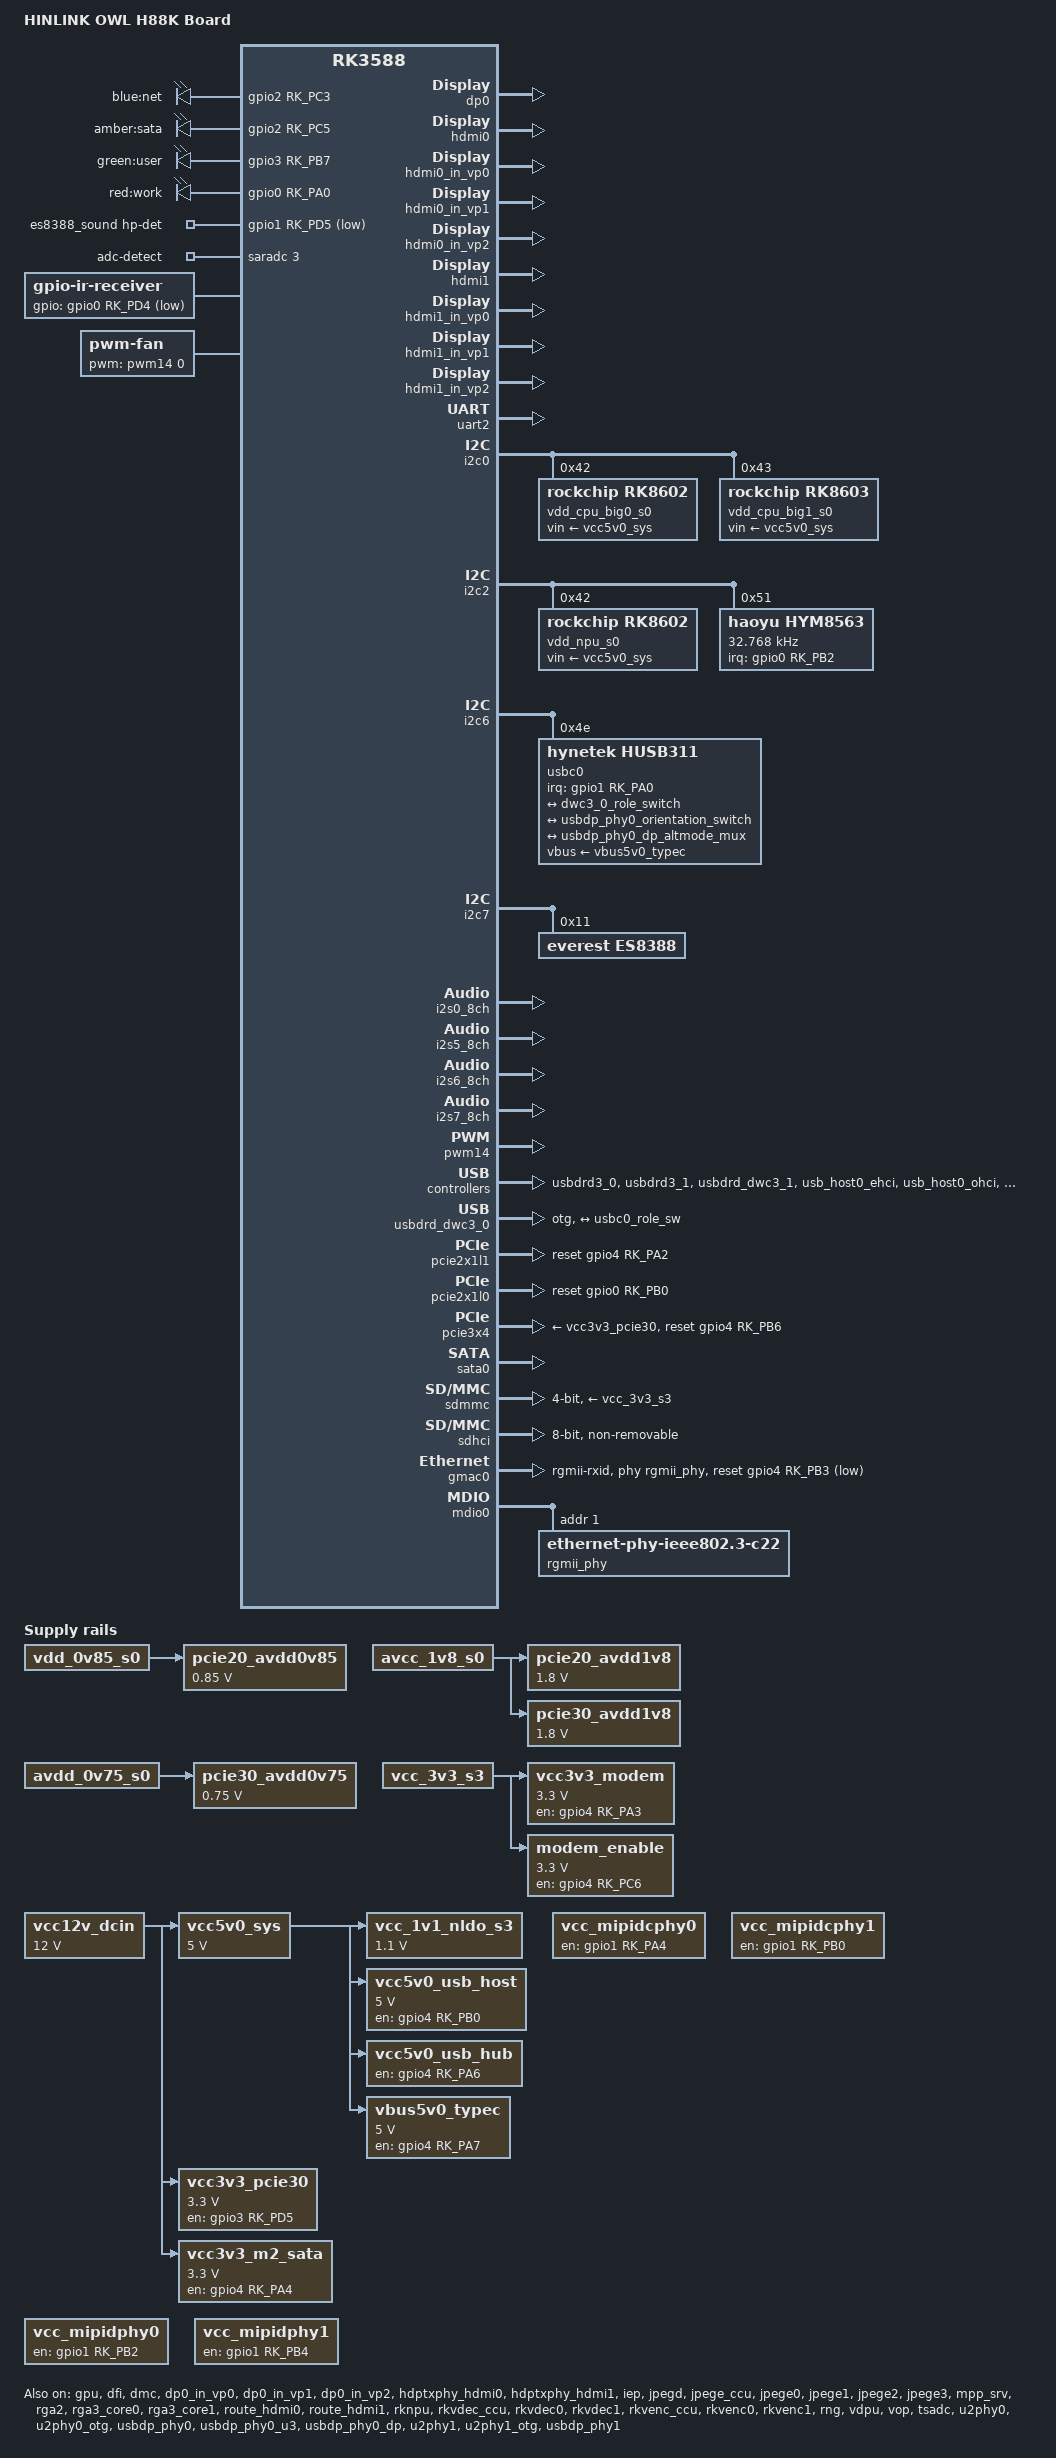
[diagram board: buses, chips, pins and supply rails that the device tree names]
// SPDX-License-Identifier: (GPL-2.0+ OR MIT)
// Copyright (c) 2022 Flippy <flippy@sina.com>

/dts-v1/;

#include <dt-bindings/gpio/gpio.h>
#include <dt-bindings/leds/common.h>
#include <dt-bindings/pwm/pwm.h>
#include <dt-bindings/pinctrl/rockchip.h>
#include <dt-bindings/input/rk-input.h>
#include <dt-bindings/display/drm_mipi_dsi.h>
#include <dt-bindings/display/rockchip_vop.h>
#include <dt-bindings/sensor-dev.h>
#include "dt-bindings/usb/pd.h"
#include "rk3588.dtsi"
#include "rk3588-rk806-single.dtsi"

/ {
	model = "HINLINK OWL H88K Board";
	compatible = "hinlink,owl-h88k", "rockchip,rk3588";

	aliases {
		mmc0 = &sdmmc;
		mmc1 = &sdhci;
	};

	/* If hdmirx node is disabled, delete the reserved-memory node here. */
	reserved-memory {
		#address-cells = <2>;
		#size-cells = <2>;
		ranges;

		/* Reserve 256MB memory for hdmirx-controller@fdee0000 */
		cma {
			compatible = "shared-dma-pool";
			reusable;
			reg = <0x0 (256 * 0x100000) 0x0 (256 * 0x100000)>;
			linux,cma-default;
		};
	};

	chosen {
		stdout-path = "serial2:1500000n8";
	};

	leds {
		compatible = "gpio-leds";
		pinctrl-names = "default";
		pinctrl-0 = <&led_net_en>, <&led_sata_en>,
			    <&led_user_en>, <&led_work_en>;

		net {
			label = "blue:net";
			gpios = <&gpio2 RK_PC3 GPIO_ACTIVE_HIGH>;
		};

		sata {
			label = "amber:sata";
			gpios = <&gpio2 RK_PC5 GPIO_ACTIVE_HIGH>;
		};

		user {
			label = "green:user";
			gpios = <&gpio3 RK_PB7 GPIO_ACTIVE_HIGH>;
		};

		work {
			label = "red:work";
			gpios = <&gpio0 RK_PA0 GPIO_ACTIVE_HIGH>;
			linux,default-trigger = "default-on";
		};
	};

	vcc12v_dcin: vcc12v-dcin {
		compatible = "regulator-fixed";
		regulator-name = "vcc12v_dcin";
		regulator-always-on;
		regulator-boot-on;
		regulator-min-microvolt = <12000000>;
		regulator-max-microvolt = <12000000>;
	};

	vcc5v0_sys: vcc5v0-sys {
		compatible = "regulator-fixed";
		regulator-name = "vcc5v0_sys";
		regulator-always-on;
		regulator-boot-on;
		regulator-min-microvolt = <5000000>;
		regulator-max-microvolt = <5000000>;
		vin-supply = <&vcc12v_dcin>;
	};

	pcie20_avdd0v85: pcie20-avdd0v85 {
		compatible = "regulator-fixed";
		regulator-name = "pcie20_avdd0v85";
		regulator-boot-on;
		regulator-always-on;
		regulator-min-microvolt = <850000>;
		regulator-max-microvolt = <850000>;
		vin-supply = <&vdd_0v85_s0>;
	};

	pcie20_avdd1v8: pcie20-avdd1v8 {
		compatible = "regulator-fixed";
		regulator-name = "pcie20_avdd1v8";
		regulator-boot-on;
		regulator-always-on;
		regulator-min-microvolt = <1800000>;
		regulator-max-microvolt = <1800000>;
		vin-supply = <&avcc_1v8_s0>;
	};

	pcie30_avdd0v75: pcie30-avdd0v75 {
		compatible = "regulator-fixed";
		regulator-name = "pcie30_avdd0v75";
		regulator-boot-on;
		regulator-always-on;
		regulator-min-microvolt = <750000>;
		regulator-max-microvolt = <750000>;
		vin-supply = <&avdd_0v75_s0>;
	};

	pcie30_avdd1v8: pcie30-avdd1v8 {
		compatible = "regulator-fixed";
		regulator-name = "pcie30_avdd1v8";
		regulator-boot-on;
		regulator-always-on;
		regulator-min-microvolt = <1800000>;
		regulator-max-microvolt = <1800000>;
		vin-supply = <&avcc_1v8_s0>;
	};

	vcc_1v1_nldo_s3: vcc-1v1-nldo-s3 {
		compatible = "regulator-fixed";
		regulator-name = "vcc_1v1_nldo_s3";
		regulator-always-on;
		regulator-boot-on;
		regulator-min-microvolt = <1100000>;
		regulator-max-microvolt = <1100000>;
		vin-supply = <&vcc5v0_sys>;
	};

	vcc3v3_pcie30: vcc3v3-pcie30 {
		compatible = "regulator-fixed";
		regulator-name = "vcc3v3_pcie30";
		regulator-min-microvolt = <3300000>;
		regulator-max-microvolt = <3300000>;
		enable-active-high;
		gpios = <&gpio3 RK_PD5 GPIO_ACTIVE_HIGH>;
		startup-delay-us = <5000>;
		vin-supply = <&vcc12v_dcin>;
	};

	vcc5v0_usb_host: vcc5v0-usb-host {
		compatible = "regulator-fixed";
		regulator-name = "vcc5v0_usb_host";
		regulator-min-microvolt = <5000000>;
		regulator-max-microvolt = <5000000>;
		enable-active-high;
		gpio = <&gpio4 RK_PB0 GPIO_ACTIVE_HIGH>;
		pinctrl-names = "default";
		pinctrl-0 = <&vcc5v0_usb_host_en>;
		vin-supply = <&vcc5v0_sys>;
	};

	/* usb hub reset pin */
	vcc5v0_usb_hub: vcc5v0-usb-hub {
		compatible = "regulator-fixed";
		regulator-name = "vcc5v0_usb_hub";
		regulator-always-on;
		enable-active-high;
		gpio = <&gpio4 RK_PA6 GPIO_ACTIVE_HIGH>;
		pinctrl-names = "default";
		pinctrl-0 = <&vcc5v0_usb_hub_en>;
		startup-delay-us = <50000>;
		vin-supply = <&vcc5v0_sys>;
	};

	vbus5v0_typec: vbus5v0-typec {
		compatible = "regulator-fixed";
		regulator-name = "vbus5v0_typec";
		regulator-min-microvolt = <5000000>;
		regulator-max-microvolt = <5000000>;
		regulator-boot-on;
		enable-active-high;
		gpio = <&gpio4 RK_PA7 GPIO_ACTIVE_HIGH>;
		pinctrl-names = "default";
		pinctrl-0 = <&typec5v_pwren>;
		vin-supply = <&vcc5v0_sys>;
	};

	vcc_mipidcphy0: vcc-mipidcphy0 {
		compatible = "regulator-fixed";
		regulator-name = "vcc_mipidcphy0";
		enable-active-high;
		gpio = <&gpio1 RK_PA4 GPIO_ACTIVE_HIGH>;
		pinctrl-names = "default";
		pinctrl-0 = <&mipidcphy0_pwr>;
	};

	vcc_mipidcphy1: vcc-mipidcphy1 {
		compatible = "regulator-fixed";
		regulator-name = "vcc_mipidcphy1";
		enable-active-high;
		gpio = <&gpio1 RK_PB0 GPIO_ACTIVE_HIGH>;
		pinctrl-names = "default";
		pinctrl-0 = <&mipidcphy1_pwr>;
	};

	vcc_mipidphy0: vcc-mipidphy0 {
		compatible = "regulator-fixed";
		regulator-name = "vcc_mipidphy0";
		enable-active-high;
		gpio = <&gpio1 RK_PB2 GPIO_ACTIVE_HIGH>;
		pinctrl-names = "default";
		pinctrl-0 = <&mipidphy0_pwr>;
	};

	vcc_mipidphy1: vcc-mipidphy1 {
		compatible = "regulator-fixed";
		regulator-name = "vcc_mipidphy1";
		enable-active-high;
		gpio = <&gpio1 RK_PB4 GPIO_ACTIVE_HIGH>;
		pinctrl-names = "default";
		pinctrl-0 = <&mipidphy1_pwr>;
	};

	vcc3v3_m2_sata: vcc3v3-m2-sata {
		compatible = "regulator-fixed";
		regulator-name = "vcc3v3_m2_sata";
		regulator-min-microvolt = <3300000>;
		regulator-max-microvolt = <3300000>;
		regulator-always-on;
		regulator-boot-on;
		enable-active-high;
		gpios = <&gpio4 RK_PA4 GPIO_ACTIVE_HIGH>;
		vin-supply = <&vcc12v_dcin>;
	};

	/* can't work */
	/*
	rk_modem: rk-Modem {
		compatible="4g-modem-platdata";
		pinctrl-names = "modem-power", "modem-reset";
		pinctrl-0 = <&modem_power_en>, <&modem_reset_en>;
		4G,power-gpio = <&gpio4 RK_PA3 GPIO_ACTIVE_HIGH>;
		4G,reset-gpio = <&gpio4 RK_PC6 GPIO_ACTIVE_HIGH>;
		status = "okay";
	};
	*/

	vcc3v3_modem: vcc3v3-modem {
		compatible = "regulator-fixed";
		enable-active-high;
		regulator-always-on;
		regulator-boot-on;
		gpios = <&gpio4 RK_PA3 GPIO_ACTIVE_HIGH>;
		regulator-min-microvolt = <3300000>;
		regulator-max-microvolt = <3300000>;
		regulator-name = "vcc3v3_modem";
		pinctrl-names = "default";
		pintctrl-0 = <&modem_power_en>;
		vin-supply = <&vcc_3v3_s3>;
	};

	/* it's modem reset pin */
	modem_enable: modem-enable {
		compatible = "regulator-fixed";
		enable-active-high;
		regulator-always-on;
		regulator-boot-on;
		gpios = <&gpio4 RK_PC6 GPIO_ACTIVE_HIGH>;
		regulator-min-microvolt = <3300000>;
		regulator-max-microvolt = <3300000>;
		regulator-name = "modem-enable";
		vin-supply = <&vcc_3v3_s3>;
		startup-delay-us = <500000>;
		pinctrl-names = "default";
		pintctrl-0 = <&modem_reset_en>;
	};

	es8388_sound: es8388-sound {
		status = "okay";
		compatible = "rockchip,multicodecs-card";
		rockchip,card-name = "rockchip-es8388";
		hp-det-gpio = <&gpio1 RK_PD5 GPIO_ACTIVE_LOW>;
		io-channels = <&saradc 3>;
		io-channel-names = "adc-detect";
		keyup-threshold-microvolt = <1800000>;
		poll-interval = <100>;
		rockchip,format = "i2s";
		rockchip,mclk-fs = <256>;
		rockchip,cpu = <&i2s0_8ch>;
		rockchip,codec = <&es8388>;
		rockchip,audio-routing =
			"Headphone", "LOUT1",
			"Headphone", "ROUT1",
			"Speaker", "LOUT2",
			"Speaker", "ROUT2",
			"Headphone", "Headphone Power",
			"Headphone", "Headphone Power",
			"Speaker", "Speaker Power",
			"Speaker", "Speaker Power",
			"LINPUT1", "Main Mic",
			"LINPUT2", "Main Mic",
			"RINPUT1", "Headset Mic",
			"RINPUT2", "Headset Mic";
		pinctrl-names = "default";
		pinctrl-0 = <&hp_det>;

		play-pause-key {
			label = "playpause";
			linux,code = <KEY_PLAYPAUSE>;
			press-threshold-microvolt = <2000>;
		};
	};

	hdmi0_sound: hdmi0-sound {
		status = "okay";
		compatible = "rockchip,hdmi";
		rockchip,mclk-fs = <128>;
		rockchip,card-name = "rockchip-hdmi0";
		rockchip,cpu = <&i2s5_8ch>;
		rockchip,codec = <&hdmi0>;
		rockchip,jack-det;
	};

	hdmi1_sound: hdmi1-sound {
		status = "okay";
		compatible = "rockchip,hdmi";
		rockchip,mclk-fs = <128>;
		rockchip,card-name = "rockchip-hdmi1";
		rockchip,cpu = <&i2s6_8ch>;
		rockchip,codec = <&hdmi1>;
		rockchip,jack-det;
	};

	dp0_sound: dp0-sound {
		status = "okay";
		compatible = "rockchip,hdmi";
		rockchip,card-name= "rockchip,dp0";
		rockchip,mclk-fs = <512>;
		rockchip,cpu = <&spdif_tx2>;
		rockchip,codec = <&dp0 1>;
		rockchip,jack-det;
	};

	hdmiin_dc: hdmiin-dc {
		compatible = "rockchip,dummy-codec";
		#sound-dai-cells = <0>;
	};

	hdmiin-sound {
		compatible = "simple-audio-card";
		simple-audio-card,format = "i2s";
		simple-audio-card,name = "rockchip,hdmiin";
		simple-audio-card,bitclock-master = <&dailink0_master>;
		simple-audio-card,frame-master = <&dailink0_master>;
		status = "okay";
		simple-audio-card,cpu {
			sound-dai = <&i2s7_8ch>;
		};
		dailink0_master: simple-audio-card,codec {
			sound-dai = <&hdmiin_dc>;
		};
	};

	ir-receiver {
		compatible = "gpio-ir-receiver";
		gpios = <&gpio0 RK_PD4 GPIO_ACTIVE_LOW>;
		pinctrl-0 = <&ir_int_pin>;
		pinctrl-names = "default";
	};

	pwm-fan {
		compatible = "pwm-fan";
		#cooling-cells = <2>;
		pwms = <&pwm14 0 50000 0>;
	};
};

&cpu_l0 {
	cpu-supply = <&vdd_cpu_lit_s0>;
	mem-supply = <&vdd_cpu_lit_mem_s0>;
};

&cpu_b0 {
	cpu-supply = <&vdd_cpu_big0_s0>;
	mem-supply = <&vdd_cpu_big0_mem_s0>;
};

&cpu_b2 {
	cpu-supply = <&vdd_cpu_big1_s0>;
	mem-supply = <&vdd_cpu_big1_mem_s0>;
};

&display_subsystem {
	clocks = <&hdptxphy_hdmi_clk0>, <&hdptxphy_hdmi_clk1>;
	clock-names = "hdmi0_phy_pll", "hdmi1_phy_pll";
};

&hdptxphy_hdmi_clk0 {
	status = "okay";
};

&hdptxphy_hdmi_clk1 {
	status = "okay";
};

&gpu {
	mali-supply = <&vdd_gpu_s0>;
	mem-supply = <&vdd_gpu_mem_s0>;
	status = "okay";
};

&crypto {
	status = "disabled";
};

&dfi {
	status = "okay";
};

&dmc {
	center-supply = <&vdd_ddr_s0>;
	mem-supply = <&vdd_log_s0>;
	status = "okay";
};

&dp0 {
	status = "okay";
};

&dp0_in_vp0 {
	status = "okay";
};

&dp0_in_vp1 {
	status = "okay";
};

&dp0_in_vp2 {
	status = "okay";
};

&hdmi0 {
	enable-gpios = <&gpio4 RK_PB1 GPIO_ACTIVE_HIGH>;
	status = "okay";
};

&hdmi0_in_vp0 {
	status = "okay";
};

&hdmi0_in_vp1 {
	status = "okay";
};

&hdmi0_in_vp2 {
	status = "okay";
};

&hdmi1 {
	enable-gpios = <&gpio4 RK_PB2 GPIO_ACTIVE_HIGH>;
	status = "okay";
};

&hdmi1_in_vp0 {
	status = "okay";
};

&hdmi1_in_vp1 {
	status = "okay";
};

&hdmi1_in_vp2 {
	status = "okay";
};

&hdptxphy_hdmi0 {
	status = "okay";
};

&hdptxphy_hdmi1 {
	status = "okay";
};

&uart2 {
	pinctrl-0 = <&uart2m0_xfer>;
	status = "okay";
};

&i2c0 {
	pinctrl-names = "default";
	pinctrl-0 = <&i2c0m2_xfer>;
	status = "okay";

	vdd_cpu_big0_s0: vdd_cpu_big0_mem_s0: rk8602@42 {
		compatible = "rockchip,rk8602";
		reg = <0x42>;
		regulator-always-on;
		regulator-boot-on;
		regulator-compatible = "rk860x-reg";
		regulator-min-microvolt = <550000>;
		regulator-max-microvolt = <1050000>;
		regulator-name = "vdd_cpu_big0_s0";
		regulator-ramp-delay = <2300>;
		rockchip,suspend-voltage-selector = <1>;
		vin-supply = <&vcc5v0_sys>;

		regulator-state-mem {
			regulator-off-in-suspend;
		};
	};

	vdd_cpu_big1_s0: vdd_cpu_big1_mem_s0: rk8603@43 {
		compatible = "rockchip,rk8603";
		reg = <0x43>;
		regulator-always-on;
		regulator-boot-on;
		regulator-compatible = "rk860x-reg";
		regulator-min-microvolt = <550000>;
		regulator-max-microvolt = <1050000>;
		regulator-name = "vdd_cpu_big1_s0";
		regulator-ramp-delay = <2300>;
		rockchip,suspend-voltage-selector = <1>;
		vin-supply = <&vcc5v0_sys>;

		regulator-state-mem {
			regulator-off-in-suspend;
		};
	};
};

&i2c2 {
	status = "okay";

	vdd_npu_s0: vdd_npu_mem_s0: rk8602@42 {
		compatible = "rockchip,rk8602";
		reg = <0x42>;
		regulator-always-on;
		regulator-boot-on;
		regulator-compatible = "rk860x-reg";
		regulator-min-microvolt = <550000>;
		regulator-max-microvolt = <950000>;
		regulator-name = "vdd_npu_s0";
		regulator-ramp-delay = <2300>;
		rockchip,suspend-voltage-selector = <1>;
		vin-supply = <&vcc5v0_sys>;

		regulator-state-mem {
			regulator-off-in-suspend;
		};
	};

	hym8563: hym8563@51 {
		compatible = "haoyu,hym8563";
		reg = <0x51>;
		#clock-cells = <0>;
		clock-frequency = <32768>;
		clock-output-names = "hym8563";
		interrupt-parent = <&gpio0>;
		interrupts = <RK_PB2 IRQ_TYPE_LEVEL_LOW>;
		pinctrl-names = "default";
		pinctrl-0 = <&rtc_int>;
		wakeup-source;
	};
};

&i2c6 {
	status = "okay";

	usbc0: husb311@4e {
		status = "okay";
		compatible = "hynetek,husb311";
		reg = <0x4e>;
		interrupt-parent = <&gpio1>;
		interrupts = <RK_PA0 IRQ_TYPE_LEVEL_LOW>;
		pinctrl-names = "default";
		pinctrl-0 = <&usbc0_int>;
		vbus-supply = <&vbus5v0_typec>;

		ports {
			#address-cells = <1>;
			#size-cells = <0>;

			port@0 {
				reg = <0>;
				usbc0_role_sw: endpoint@0 {
					remote-endpoint = <&dwc3_0_role_switch>;
				};
			};
		};

		usb_con: connector {
			compatible = "usb-c-connector";
			label = "USB-C";
			data-role = "dual";
			power-role = "dual";
			try-power-role = "sink";
			op-sink-microwatt = <1000000>;
			sink-pdos =
				<PDO_FIXED(5000, 1000, PDO_FIXED_USB_COMM)>;
			source-pdos =
				<PDO_FIXED(5000, 3000, PDO_FIXED_USB_COMM)>;

			altmodes {
				#address-cells = <1>;
				#size-cells = <0>;

				altmode@0 {
					reg = <0>;
					svid = <0xff01>;
					vdo = <0xffffffff>;
				};
			};

			ports {
				#address-cells = <1>;
				#size-cells = <0>;

				port@0 {
					reg = <0>;
					usbc0_orien_sw: endpoint {
						remote-endpoint = <&usbdp_phy0_orientation_switch>;
					};
				};

				port@1 {
					reg = <1>;
					dp_altmode_mux: endpoint {
						remote-endpoint = <&usbdp_phy0_dp_altmode_mux>;
					};
				};
			};
		};
	};
};

&i2c7 {
	status = "okay";

	es8388: es8388@11 {
		status = "okay";
		#sound-dai-cells = <0>;
		compatible = "everest,es8388", "everest,es8323";
		reg = <0x11>;
		clocks = <&cru I2S0_8CH_MCLKOUT>;
		clock-names = "mclk";
		assigned-clocks = <&cru I2S0_8CH_MCLKOUT>;
		assigned-clock-rates = <12288000>;
		pinctrl-names = "default";
		pinctrl-0 = <&i2s0_mclk>;
	};
};

&i2s0_8ch {
	pinctrl-0 = <&i2s0_lrck
		     &i2s0_sclk
		     &i2s0_sdi0
		     &i2s0_sdo0>;
	status = "okay";
};

&i2s5_8ch {
	status = "okay";
};

&i2s6_8ch {
	status = "okay";
};

&i2s7_8ch {
	status = "okay";
};

&iep {
	status = "okay";
};

&iep_mmu {
	status = "okay";
};

&jpegd {
	status = "okay";
};

&jpegd_mmu {
	status = "okay";
};

&jpege_ccu {
	status = "okay";
};

&jpege0 {
	status = "okay";
};

&jpege0_mmu {
	status = "okay";
};

&jpege1 {
	status = "okay";
};

&jpege1_mmu {
	status = "okay";
};

&jpege2 {
	status = "okay";
};

&jpege2_mmu {
	status = "okay";
};

&jpege3 {
	status = "okay";
};

&jpege3_mmu {
	status = "okay";
};

&mpp_srv {
	status = "okay";
};

&pwm14 {
	status = "okay";
};

&rga2 {
	status = "okay";
};

&rga3_core0 {
	status = "okay";
};

&rga3_0_mmu {
	status = "okay";
};

&rga3_core1 {
	status = "okay";
};

&rga3_1_mmu {
	status = "okay";
};

&route_dp0 {
	status = "disabled";
	force-output;
	connect = <&vp2_out_dp0>;

	force_timing {
		clock-frequency = <65000000>;
		hactive = <1024>;
		vactive = <768>;
		hfront-porch = <24>;
		hsync-len = <136>;
		hback-porch = <160>;
		vfront-porch = <3>;
		vsync-len = <6>;
		vback-porch = <29>;
		hsync-active = <0>;
		vsync-active = <0>;
		de-active = <0>;
		pixelclk-active = <0>;
	};
};

&route_hdmi0 {
	status = "okay";
	force-output;
	connect = <&vp2_out_hdmi0>;

	force_timing {
		clock-frequency = <65000000>;
		hactive = <1024>;
		vactive = <768>;
		hfront-porch = <24>;
		hsync-len = <136>;
		hback-porch = <160>;
		vfront-porch = <3>;
		vsync-len = <6>;
		vback-porch = <29>;
		hsync-active = <0>;
		vsync-active = <0>;
		de-active = <0>;
		pixelclk-active = <0>;
	};
};

&route_hdmi1 {
	status = "okay";
	force-output;
	connect = <&vp2_out_hdmi1>;

	force_timing {
		clock-frequency = <65000000>;
		hactive = <1024>;
		vactive = <768>;
		hfront-porch = <24>;
		hsync-len = <136>;
		hback-porch = <160>;
		vfront-porch = <3>;
		vsync-len = <6>;
		vback-porch = <29>;
		hsync-active = <0>;
		vsync-active = <0>;
		de-active = <0>;
		pixelclk-active = <0>;
	};
};

&rknpu {
	rknpu-supply = <&vdd_npu_s0>;
	mem-supply = <&vdd_npu_mem_s0>;
	status = "okay";
};

&rknpu_mmu {
	status = "okay";
};

&rkvdec_ccu {
	status = "okay";
};

&rkvdec0 {
	status = "okay";
};

&rkvdec0_mmu {
	status = "okay";
};

&rkvdec1 {
	status = "okay";
};

&rkvdec1_mmu {
	status = "okay";
};

&rkvenc_ccu {
	status = "okay";
};

&rkvenc0 {
	status = "okay";
};

&rkvenc0_mmu {
	status = "okay";
};

&rkvenc1 {
	status = "okay";
};

&rkvenc1_mmu {
	status = "okay";
};

&rng {
	status = "okay";
};

&vdpu {
	status = "okay";
};

&vdpu_mmu {
	status = "okay";
};

&vop {
	status = "okay";
};

&vop_mmu {
	status = "okay";
};

/* vp0 & vp1 splice for 8K output */
&vp0 {
	rockchip,plane-mask = <(1 << ROCKCHIP_VOP2_CLUSTER0 | 1 << ROCKCHIP_VOP2_ESMART0)>;
	rockchip,primary-plane = <ROCKCHIP_VOP2_ESMART0>;
};

&vp1 {
	rockchip,plane-mask = <(1 << ROCKCHIP_VOP2_CLUSTER1 | 1 << ROCKCHIP_VOP2_ESMART1)>;
	rockchip,primary-plane = <ROCKCHIP_VOP2_ESMART1>;
};

&vp2 {
	rockchip,plane-mask = <(1 << ROCKCHIP_VOP2_CLUSTER2 | 1 << ROCKCHIP_VOP2_ESMART2)>;
	rockchip,primary-plane = <ROCKCHIP_VOP2_ESMART2>;
};

&vp3 {
	rockchip,plane-mask = <(1 << ROCKCHIP_VOP2_CLUSTER3 | 1 << ROCKCHIP_VOP2_ESMART3)>;
	rockchip,primary-plane = <ROCKCHIP_VOP2_ESMART3>;
};

&rockchip_suspend {
	rockchip,sleep-debug-en = <1>;
	rockchip,sleep-mode-config = <
	       (0
	       | RKPM_SLP_ARMOFF_DDRPD
	       | RKPM_SLP_PMU_PMUALIVE_32K
	       | RKPM_SLP_PMU_DIS_OSC
	       | RKPM_SLP_32K_EXT
	       | RKPM_SLP_PMU_DBG
	       )
	>;
	status = "okay";
};

&tsadc {
	status = "okay";
};

/* Begin of USB
 * TYPEC0 
 *   usbdrd3_0 + usbdrd_dwc3_0 
 *   u2phy0 + u2phy0_otg + usbdp_phy0 + usbdp_phy0_u3
 */
&usbdrd3_0 {
	status = "okay";
};

&usbdrd_dwc3_0 {
	status = "okay";
	dr_mode = "otg";
	extcon = <&u2phy0>;
	usb-role-switch;

	port {
		#address-cells = <1>;
		#size-cells = <0>;
		dwc3_0_role_switch: endpoint@0 {
			reg = <0>;
			remote-endpoint = <&usbc0_role_sw>;
		};
	};
};

&u2phy0 {
	status = "okay";
};

&u2phy0_otg {
	status = "okay";
	vbus-supply = <&vbus5v0_typec>;
	rockchip,typec-vbus-det;
};

&usbdp_phy0 {
	status = "okay";
	orientation-switch;

	rockchip,dp-lane-mux = < 2 3 >;

	svid = <0xff01>;
	sbu1-dc-gpios = <&gpio0 RK_PC6 GPIO_ACTIVE_HIGH>;
	sbu2-dc-gpios = <&gpio0 RK_PD3 GPIO_ACTIVE_HIGH>;

	port {
		#address-cells = <1>;
		#size-cells = <0>;
		usbdp_phy0_orientation_switch: endpoint@0 {
			reg = <0>;
			remote-endpoint = <&usbc0_orien_sw>;
		};

		usbdp_phy0_dp_altmode_mux: endpoint@1 {
			reg = <1>;
			remote-endpoint = <&dp_altmode_mux>;
		};
	};
};

&usbdp_phy0_u3 {
	status = "okay";
};

&usbdp_phy0_dp {
	status = "okay";
};

/* TYPEC1
 * usbdrd3_1 + usbdrd_dwc3_1
 * u2phy1 + u2phy1_otg + usbdp_phy1 + usbdp_phy1_u3
 */
&usbdrd3_1 {
	status = "okay";
};

&usbdrd_dwc3_1 {
	status = "okay";
};

&u2phy1 {
	status = "okay";
};

&u2phy1_otg {
	phy-supply = <&vcc5v0_usb_host>;
	status = "okay";
};

&usbdp_phy1 {
	status = "okay";
};

&usbdp_phy1_u3 {
	status = "okay";
};

&usbdp_phy1_dp {
	status = "okay";
};

/* USB20_HOST0
 * usb_host0_ehci + usb_host0_ohci
 * u2phy2 + u2phy2_host
 */ 
&usb_host0_ehci {
	status = "okay";
};

&usb_host0_ohci {
	status = "okay";
};

&u2phy2 {
	status = "okay";
};

&u2phy2_host {
	status = "okay";
};

/* USB20_HOST1
 * usb_host1_ehci + usb_host1_ohci
 * u2phy3 + u2phy3_host
 */
&usb_host1_ehci {
	status = "okay";
};

&usb_host1_ohci {
	status = "okay";
};

&u2phy3 {
	status = "okay";
};

&u2phy3_host {
	status = "okay";
};

/* USB30_2 | pcie2x1l1 | sata2 => combphy2_psu
 * usbhost3_0 + usbhost_dwc3_0 | pcie2x1l1 | sata2
 * combphy2_psu
 */
&usbhost3_0 {
	status = "disabled";
};

&usbhost_dwc3_0 {
	status = "disabled";
};

&pcie2x1l1 {
	reset-gpios = <&gpio4 RK_PA2 GPIO_ACTIVE_HIGH>;
	status = "okay";
};

&sata2 {
	status = "disabled";
}; 

&combphy2_psu {
	status = "okay";
};

/* pce2x1l0 | sata1 => combphy1_ps */
&pcie2x1l0 {
	reset-gpios = <&gpio0 RK_PB0 GPIO_ACTIVE_HIGH>;
	status = "okay";
};

&sata1 {
	status = "disabled";
}; 

&combphy1_ps {
	status = "okay";
};

/* pcie3x4 => pcie30phy */
&pcie3x4 {
	reset-gpios = <&gpio4 RK_PB6 GPIO_ACTIVE_HIGH>;
	vpcie3v3-supply = <&vcc3v3_pcie30>;
	status = "okay";
};

&pcie30phy {
	rockchip,pcie30-phymode = <PHY_MODE_PCIE_AGGREGATION>;
	status = "okay";
};

/* pcie2x1l2 | sata0 => combphy0_ps */
&pcie2x1l2 {
	status = "disabled";
};

&sata0 {
	status = "okay";
};

&combphy0_ps {
	status = "okay";
	pinctrl-0 = <&sata0_pm_reset>;
	status = "okay";
};

&sdmmc {
	max-frequency = <200000000>;
	no-sdio;
	no-mmc;
	bus-width = <4>;
	cap-mmc-highspeed;
	cap-sd-highspeed;
	disable-wp;
	sd-uhs-sdr104;
	vmmc-supply = <&vcc_3v3_s3>;
	vqmmc-supply = <&vccio_sd_s0>;
	pinctrl-names = "default";
	pinctrl-0 = <&sdmmc_bus4 &sdmmc_clk &sdmmc_cmd &sdmmc_det>;
	status = "okay";
};

&sdhci {
	bus-width = <8>;
	max-frequency = <200000000>;
	mmc-hs400-1_8v;
	mmc-hs400-enhanced-strobe;
	no-sd;
	no-sdio;
	non-removable;
	status = "okay";
};

&gmac0 {
	phy-mode = "rgmii-rxid";
	clock_in_out = "output";

	snps,reset-gpio = <&gpio4 RK_PB3 GPIO_ACTIVE_LOW>;
	snps,reset-active-low;
	/* Reset time is 20ms, 100ms for rtl8211f */
	snps,reset-delays-us = <0 20000 100000>;

	phy-handle = <&rgmii_phy>;
	pinctrl-names = "default";
	pinctrl-0 = <&gmac0_miim
		     &gmac0_tx_bus2
		     &gmac0_rx_bus2
		     &gmac0_rgmii_clk
		     &gmac0_rgmii_bus>;

	tx_delay = <0x44>;
	status = "okay";
};

&mdio0 {
	rgmii_phy: phy@1 {
		compatible = "ethernet-phy-ieee802.3-c22";
		reg = <0x1>;
	};
};

&vdd_log_s0 {
	regulator-state-mem {
		regulator-on-in-suspend;
	};
};

&pinctrl {
	leds {
		led_net_en: led_net_en {
			rockchip,pins = <2 RK_PC3 RK_FUNC_GPIO &pcfg_pull_none>;
		};

		led_sata_en: led_sata_en {
			rockchip,pins = <2 RK_PC5 RK_FUNC_GPIO &pcfg_pull_none>;
		};

		led_user_en: led_user_en {
			rockchip,pins = <3 RK_PB7 RK_FUNC_GPIO &pcfg_pull_none>;
		};

		led_work_en: led_work_en {
			rockchip,pins = <0 RK_PA0 RK_FUNC_GPIO &pcfg_pull_none>;
		};
	};

	headphone {
		hp_det: hp-det {
			rockchip,pins = <1 RK_PD5 RK_FUNC_GPIO &pcfg_pull_up>;
		};
	};

	ir {
		ir_int_pin: ir-int-pin {
			rockchip,pins = <0 RK_PD4 RK_FUNC_GPIO &pcfg_pull_up>;
		};
	};

	rtc {
		rtc_int: rtc-int {
			rockchip,pins = <0 RK_PB2 RK_FUNC_GPIO &pcfg_pull_up>;
		};
	};

	sata {
		sata0_pm_reset: sata0-pm-reset {
			rockchip,pins = <4 RK_PA0 RK_FUNC_GPIO &pcfg_output_high>;
		};
	};

	usb {
		vcc5v0_usb_host_en: vcc5v0_usb_host_en {
			rockchip,pins = <4 RK_PB0 RK_FUNC_GPIO &pcfg_pull_none>;
		};

		vcc5v0_usb_hub_en: vcc5v0_usb_hub_en {
			rockchip,pins = <4 RK_PA6 RK_FUNC_GPIO &pcfg_pull_none>;
		};

		typec5v_pwren: typec5v-pwren {
			rockchip,pins = <4 RK_PA7 RK_FUNC_GPIO &pcfg_pull_none>;
		};
	};

	usb-typec {
		usbc0_int: usbc0-int {
			rockchip,pins = <1 RK_PA0 RK_FUNC_GPIO &pcfg_pull_up>;
		};
	};

	modem {
		modem_power_en: modem-power-en {
			rockchip,pins = <4 RK_PA3 RK_FUNC_GPIO &pcfg_pull_none>;
		};

		modem_reset_en: modem-reset-en {
			rockchip,pins = <4 RK_PC6 RK_FUNC_GPIO &pcfg_pull_none>;
		};
	};

	mipi {
		mipidcphy0_pwr: mipidcphy0-pwreset-en {
			rockchip,pins = <1 RK_PA4 RK_FUNC_GPIO &pcfg_pull_none>;
		};

		mipidcphy1_pwr: mipidcphy1-pwreset-en {
			rockchip,pins = <1 RK_PB0 RK_FUNC_GPIO &pcfg_pull_none>;
		};

		mipidphy0_pwr: mipidphy0-pwreset-en {
			rockchip,pins = <1 RK_PB2 RK_FUNC_GPIO &pcfg_pull_none>;
		};

		mipidphy1_pwr: mipidphy1-pwreset-en {
			rockchip,pins = <1 RK_PB4 RK_FUNC_GPIO &pcfg_pull_none>;
		};
	};
};
